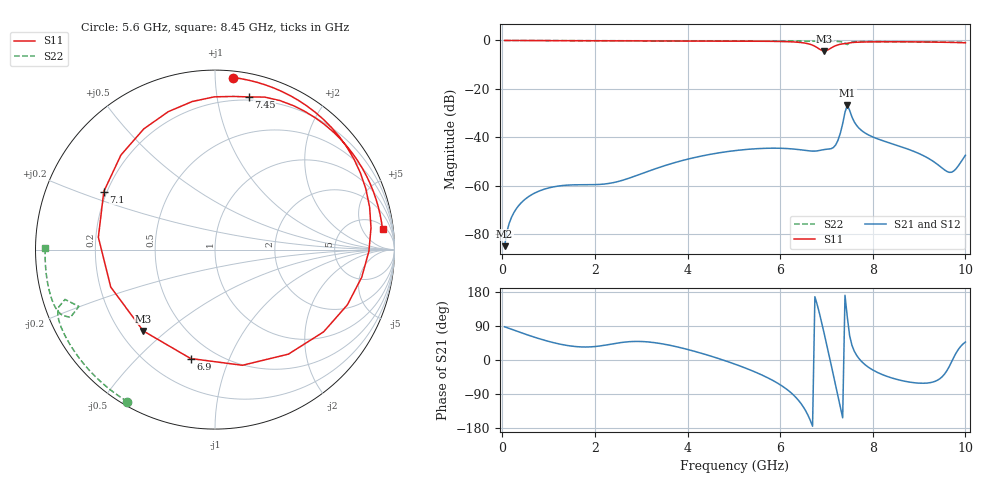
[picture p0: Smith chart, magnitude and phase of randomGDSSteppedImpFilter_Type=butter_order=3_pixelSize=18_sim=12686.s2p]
! freq	dB(S11)	phase(S11)	dB(S12)	phase(S12)
!  dB(S21)	phase(S21)	dB(S22)	phase(S22)
!S-par simulation data
#  GHz  S  DB  R 50
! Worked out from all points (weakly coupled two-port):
!   200 points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, 50 MHz to 10 GHz, reference 50 ohm
!   highest |S21| = -26.71 dB at 7.45 GHz (marker M1); lowest = -84.9 dB at 50 MHz (marker M2)
!   lowest |S11| = -4.4 dB at 6.95 GHz (marker M3), VSWR 4.05, Z = 14.7 - j20.9 ohm
!   |S11| at or under -10 dB: nowhere
!   |S22| runs from -1.7 to 0.0 dB; largest |S21 - S12| = 0
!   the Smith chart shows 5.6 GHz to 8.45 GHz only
!   S11 on the Smith chart (normalised r, x): 5.6 GHz: 0.04, +1.11; 6.9 GHz: 0.37, -0.73; 7.1 GHz: 0.19, +0.24; 7.45 GHz: 0.17, +1.23; 8.45 GHz: 7, +13
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0.05  -0.00 -3.4  -84.94 87.6  -84.94 87.6  -0.00 -1.2
0.3  -0.03 -20.1  -69.55 76.6  -69.55 76.6  -0.01 -6.9
0.6  -0.05 -39.6  -64.08 63.9  -64.08 63.9  -0.02 -13.7
1.15  -0.09 -73.5  -60.29 44.5  -60.29 44.5  -0.03 -26.2
1.75  -0.11 -106.5  -59.56 34.3  -59.56 34.3  -0.05 -39.6
2.6  -0.14 -147.1  -57.71 46.6  -57.71 46.6  -0.07 -58.1
3.4  -0.17 178.9  -52.36 43.8  -52.36 43.8  -0.10 -75.1
5.05  -0.25 110.1  -45.42 -12.1  -45.42 -12.1  -0.17 -108.9
5.6  -0.32 83.9  -44.59 -39.3  -44.59 -39.3  -0.20 -120.0
6.25  -0.58 42.3  -44.76 -88.1  -44.76 -88.1  -0.25 -133.2
6.55  -1.13 7.9  -45.41 -133.8  -45.41 -133.8  -0.27 -139.5
6.7  -1.95 -22.6  -45.68 -174.8  -45.68 -174.8  -0.29 -142.7
6.9  -4.13 -102.6  -45.23 97.0  -45.23 97.0  -0.31 -147.1
6.95  -4.37 -131.5  -45.05 70.3  -45.05 70.3  -0.31 -148.2
7.1  -3.11 152.4  -44.69 -12.1  -44.69 -12.1  -0.34 -151.8
7.25  -1.82 108.7  -41.16 -97.1  -41.16 -97.1  -0.41 -155.9
7.45  -1.20 77.6  -26.71 113.3  -26.71 113.3  -1.70 -157.4
7.75  -0.66 48.7  -37.06 -2.9  -37.06 -2.9  -0.44 -163.2
8.35  -0.53 12.1  -42.24 -45.0  -42.24 -45.0  -0.47 -178.0
8.45  -0.54 6.9  -42.86 -48.8  -42.86 -48.8  -0.49 179.5
9.65  -0.78 -48.3  -54.45 -17.5  -54.45 -17.5  -0.68 147.0
10  -0.96 -64.2  -47.41 47.4  -47.41 47.4  -0.76 136.1
